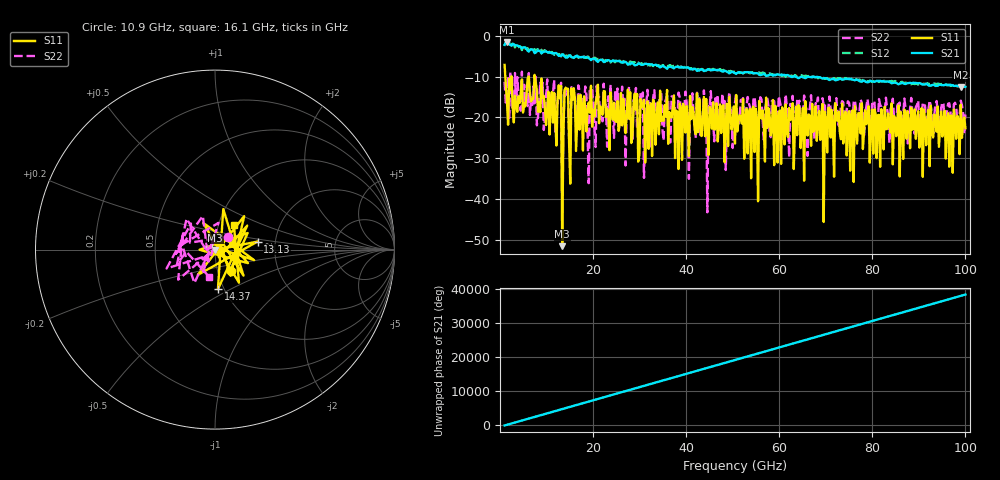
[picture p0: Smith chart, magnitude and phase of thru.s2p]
!Created with skrf (http://scikit-rf.org).
# GHz S RI R 50.0
!freq ReS11 ImS11 ReS21 ImS21 ReS12 ImS12 ReS22 ImS22
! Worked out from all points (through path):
!   401 points, 1 GHz to 100 GHz, reference 50 ohm
!   highest |S21| = -1.51 dB at 1.495 GHz (marker M1); lowest = -12.7 dB at 99.01 GHz (marker M2)
!   lowest |S11| = -51.6 dB at 13.38 GHz (marker M3), VSWR 1.01, Z = 50.1 - j0.254 ohm
!   |S11| at or under -10 dB: 1.147 GHz to 2.479 GHz (1.332 GHz wide, 73.5 % of centre); 2.488 GHz to 6.18 GHz (3.692 GHz wide, 85.2 % of centre); 7.489 GHz to end of sweep (the widest 3 of 4)
!   |S22| runs from -43.3 to -8.8 dB; largest |S21 - S12| = 0.11
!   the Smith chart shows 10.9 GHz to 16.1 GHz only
!   S11 on the Smith chart (normalised r, x): 10.9 GHz: 1.15, -0.28; 13.13 GHz: 1.62, +0.15; 14.37 GHz: 0.94, -0.43; 16.1 GHz: 1.19, +0.33
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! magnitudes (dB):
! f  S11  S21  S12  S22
! 1 GHz  -7.1  -2.2  -1.3  -11.3
! 1.495 GHz  -15.8  -1.5  -1.5  -14.6
! 10.9 GHz  -16.7  -4.1  -4.1  -20.0
! 12.63 GHz  -12.1  -4.9  -4.5  -14.3
! 13.13 GHz  -12.3  -4.9  -5.1  -11.5
! 13.38 GHz  -51.6  -4.6  -4.5  -39.2
! 14.37 GHz  -13.1  -5.4  -4.8  -14.5
! 14.61 GHz  -13.0  -5.2  -5.2  -13.2
! 16.1 GHz  -15.3  -5.2  -5.2  -16.2
! 17.58 GHz  -17.1  -5.2  -5.1  -21.5
! 34.16 GHz  -24.1  -7.5  -7.2  -17.1
! 43.82 GHz  -15.0  -8.7  -8.6  -13.4
! 44.56 GHz  -23.1  -8.3  -8.3  -43.3
! 50.5 GHz  -26.4  -9.2  -8.9  -16.4
! 67.08 GHz  -16.7  -10.2  -10.0  -19.1
! 68.81 GHz  -25.5  -10.2  -10.2  -21.9
! 70.05 GHz  -20.6  -10.4  -10.5  -27.0
! 71.04 GHz  -24.9  -10.7  -10.4  -17.9
! 75.5 GHz  -19.4  -10.7  -10.5  -24.4
! 83.67 GHz  -22.2  -11.3  -11.2  -26.3
! 99.01 GHz  -16.9  -12.7  -12.5  -15.9
! 100 GHz  -22.7  -12.5  -12.4  -19.3
